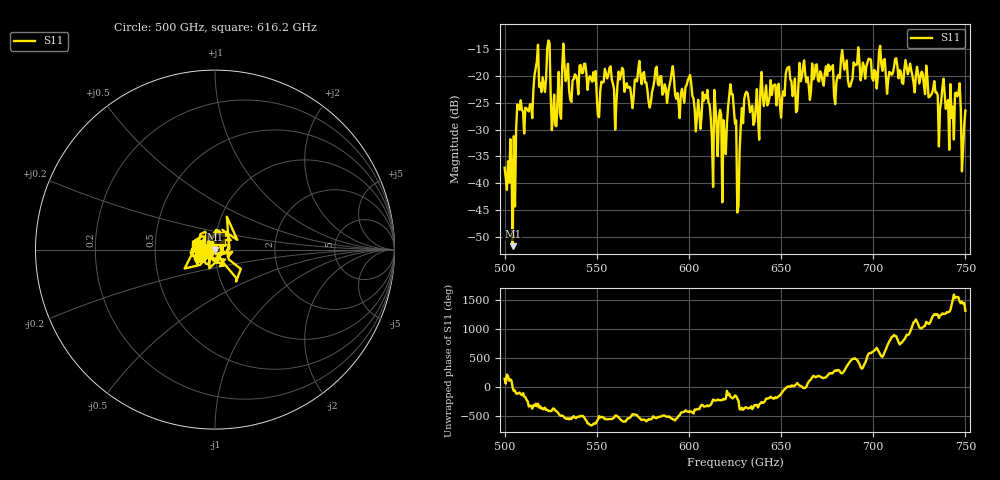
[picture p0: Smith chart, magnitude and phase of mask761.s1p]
!Created with skrf (http://scikit-rf.org).
# GHz S MA R 50.0
!freq magS11 angS11
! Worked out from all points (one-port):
!   401 points, 500 GHz to 750 GHz, reference 50 ohm
!   lowest |S11| = -51.7 dB at 504.4 GHz (marker M1), VSWR 1.01, Z = 50.3 - j0.0707 ohm
!   |S11| at or under -10 dB: start of sweep to end of sweep
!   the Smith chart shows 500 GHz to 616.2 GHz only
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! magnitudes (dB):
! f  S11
! 500 GHz  -37.1
! 504.4 GHz  -51.7
! 507.5 GHz  -25.5
! 513.8 GHz  -25.3
! 516.9 GHz  -18.6
! 523.8 GHz  -13.4
! 526.9 GHz  -23.5
! 531.2 GHz  -18.4
! 542.5 GHz  -19.4
! 551.2 GHz  -27.7
! 562.5 GHz  -20.7
! 578.8 GHz  -25.9
! 590.6 GHz  -19.4
! 593.8 GHz  -23.2
! 608.8 GHz  -23.6
! 619.4 GHz  -31.3
! 623.1 GHz  -23.4
! 625 GHz  -28.9
! 626.9 GHz  -44.3
! 631.2 GHz  -23.0
! 656.2 GHz  -23.8
! 680 GHz  -21.2
! 683.8 GHz  -17.1
! 687.5 GHz  -22.0
! 718.8 GHz  -19.7
! 742.5 GHz  -27.8
! 745.6 GHz  -23.8
! 750 GHz  -26.5
